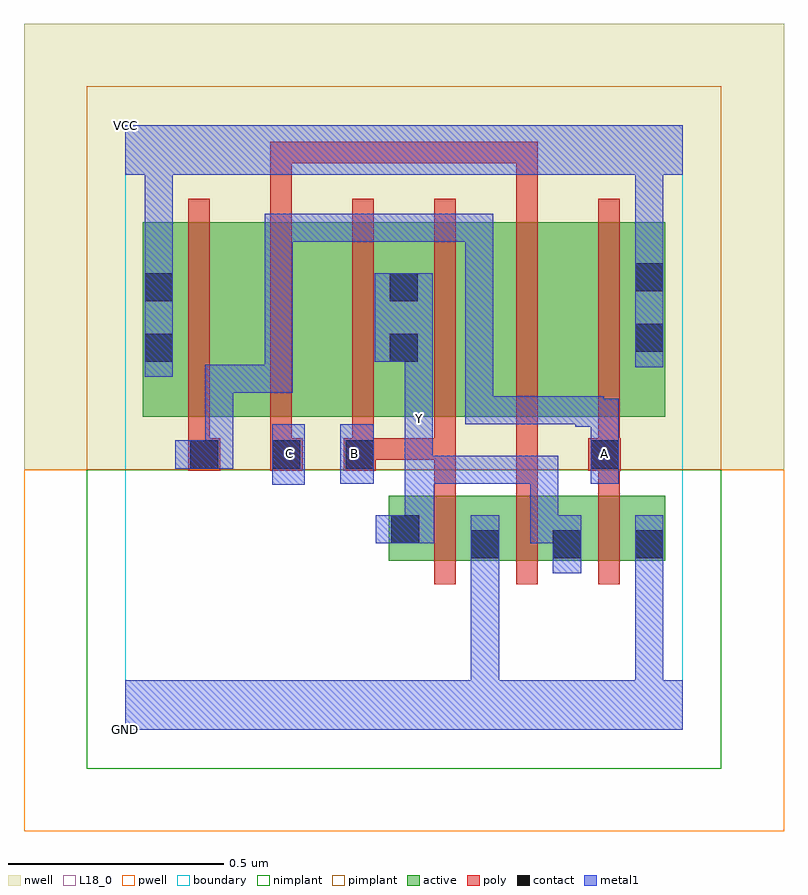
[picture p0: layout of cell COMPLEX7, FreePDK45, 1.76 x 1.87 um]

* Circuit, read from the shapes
.subckt COMPLEX7 A B C GND VCC Y
M1 GND B Y VSUBS nfet w=0.15u l=0.05u
M2 Y C GND VSUBS nfet w=0.15u l=0.05u
M3 GND A Y VSUBS nfet w=0.15u l=0.05u
M4 n1 A VCC n2 pfet w=0.45u l=0.05u
M5 n3 C n1 n2 pfet w=0.45u l=0.05u
M6 Y B n3 n2 pfet w=0.45u l=0.05u
M7 n4 B Y n2 pfet w=0.45u l=0.05u
M8 n5 C n4 n2 pfet w=0.45u l=0.05u
M9 VCC A n5 n2 pfet w=0.45u l=0.05u
.ends

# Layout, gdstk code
import gdstk
lib = gdstk.Library(unit=1e-6, precision=1e-09)
def R(c, l, rs):  # rectangles x0, y0, x1, y1
    for r in rs: c.add(gdstk.rectangle(r[:2], r[2:], *l))
def A(c, l, x, y, w, h, nx, ny, dx, dy):  # array of equal rectangles
    R(c, l, [(x+i*dx, y+j*dy, x+i*dx+w, y+j*dy+h) for i in range(nx) for j in range(ny)])
active = (1, 0)
pwell = (2, 0)
nwell = (3, 0)
nimplant = (4, 0)
pimplant = (5, 0)
poly = (9, 0)
contact = (10, 0)
metal1 = (11, 0)
L18_0 = (18, 0)
boundary = (235, 0)

complex7 = lib.new_cell('COMPLEX7')
R(complex7, active, [(0.61,0.392,0.87,0.542), (0.795,0.392,1.06,0.542), (0.795,0.392,0.87,0.467), (0.985,0.392,1.25,0.542), (0.985,0.392,1.06,0.467), (1.175,0.392,1.25,0.542), (0.61,0.397,0.685,0.542), (0.04,0.725,0.115,1.175), (0.04,0.725,0.265,1.175), (0.265,0.725,0.455,1.175), (0.455,0.725,0.682,1.175), (0.607,0.725,0.835,1.175), (0.607,0.725,0.682,1.07), (0.835,0.725,1.025,1.175), (1.025,0.725,1.25,1.175), (1.175,0.725,1.25,1.175)])
R(complex7, pwell, [(-0.235,-0.235,1.525,0.602)])
R(complex7, nwell, [(-0.235,0.602,1.525,1.635)])
R(complex7, nimplant, [(-0.09,-0.09,1.38,0.602)])
R(complex7, pimplant, [(-0.09,0.602,1.38,1.49)])
A(complex7, poly, 0.715, 0.337, 0.05, 0.26, 3, 1, 0.19, 0)
A(complex7, poly, 0.145, 0.625, 0.05, 0.095, 6, 1, 0.19, 0)
A(complex7, poly, 0.145, 0.67, 0.05, 0.56, 6, 1, 0.19, 0)
R(complex7, poly, [(0.715,0.547,0.765,0.675), (0.905,0.547,0.955,0.675), (1.095,0.547,1.145,0.65), (0.145,0.6,0.22,0.675), (0.335,0.6,0.41,0.675), (0.505,0.6,0.58,0.675), (1.072,0.6,1.147,0.675), (0.53,0.625,0.58,0.675), (0.53,0.625,0.58,0.675), (0.53,0.625,0.765,0.675), (0.715,0.625,0.765,0.675), (0.905,0.625,0.955,0.675), (0.335,1.18,0.385,1.362), (0.905,1.18,0.955,1.362), (0.335,1.312,0.385,1.362), (0.335,1.312,0.385,1.362), (0.335,1.312,0.385,1.362), (0.335,1.312,0.555,1.362), (0.505,1.312,0.555,1.362), (0.505,1.312,0.555,1.362), (0.505,1.312,0.555,1.362), (0.505,1.312,0.822,1.362), (0.772,1.312,0.955,1.362), (0.772,1.312,0.822,1.362), (0.772,1.312,0.822,1.362), (0.772,1.312,0.822,1.362), (0.905,1.312,0.955,1.362)])
A(complex7, contact, 0.8, 0.397, 0.065, 0.065, 3, 1, 0.19, 0)
R(complex7, contact, [(0.615,0.432,0.68,0.497), (0.15,0.605,0.215,0.67), (0.34,0.605,0.405,0.67), (0.51,0.605,0.575,0.67), (1.077,0.605,1.142,0.67), (0.045,0.852,0.11,0.917), (0.612,0.852,0.677,0.917), (1.18,0.875,1.245,0.94), (0.045,0.992,0.11,1.057), (0.612,0.992,0.677,1.057), (1.18,1.015,1.245,1.08)])
A(complex7, metal1, 0.8, 0.362, 0.065, 0.135, 3, 1, 0.19, 0)
R(complex7, metal1, [(0,0,1.29,0.115), (0.8,0.05,0.865,0.115), (0.8,0.05,0.865,0.115), (0.8,0.05,0.865,0.115), (0.8,0.05,0.865,0.115), (0.8,0.05,0.865,0.427), (1.18,0.05,1.245,0.115), (1.18,0.05,1.245,0.115), (1.18,0.05,1.245,0.115), (1.18,0.05,1.245,0.115), (1.18,0.05,1.245,0.427), (0.58,0.432,0.715,0.497), (0.647,0.432,0.712,0.717), (0.65,0.432,0.715,0.497), (0.65,0.432,0.715,0.635), (0.937,0.432,1.055,0.497), (0.937,0.432,1.002,0.635), (0.34,0.567,0.415,0.707), (0.497,0.57,0.575,0.707), (0.65,0.57,0.917,0.635), (0.852,0.57,0.917,0.635), (0.852,0.57,1.002,0.635), (1.077,0.57,1.142,0.767), (0.115,0.605,0.25,0.67), (0.185,0.605,0.25,0.67), (0.185,0.605,0.25,0.67), (0.185,0.605,0.25,0.845), (0.647,0.652,0.712,0.787), (1.042,0.702,1.142,0.767), (1.042,0.702,1.107,0.772), (0.787,0.707,0.852,0.772), (0.787,0.707,0.852,0.772), (0.787,0.707,0.852,0.772), (0.787,0.707,0.852,0.772), (0.787,0.707,0.852,0.772), (0.787,0.707,1.107,0.772), (0.787,0.707,0.852,1.195), (0.647,0.722,0.712,0.917), (0.185,0.78,0.25,0.845), (0.185,0.78,0.387,0.845), (0.322,0.78,0.387,0.845), (0.322,0.78,0.387,0.845), (0.322,0.78,0.387,0.845), (0.322,0.78,0.387,1.195), (0.045,0.817,0.11,1.092), (1.18,0.84,1.245,1.115), (0.577,0.852,0.712,1.057), (0.045,1.027,0.11,1.35), (1.18,1.05,1.245,1.115), (1.18,1.05,1.245,1.115), (1.18,1.05,1.245,1.35), (0.322,1.13,0.387,1.195), (0.322,1.13,0.525,1.195), (0.46,1.13,0.525,1.195), (0.46,1.13,0.715,1.195), (0.65,1.13,0.715,1.195), (0.65,1.13,0.715,1.195), (0.65,1.13,0.715,1.195), (0.65,1.13,0.852,1.195), (0.787,1.13,0.852,1.195), (0,1.285,1.29,1.4), (0.045,1.285,0.11,1.35), (0.045,1.285,0.11,1.35)])
A(complex7, L18_0, 0.8, 0.362, 0.065, 0.135, 3, 1, 0.19, 0)
R(complex7, L18_0, [(0,0,1.29,0.115), (0.8,0.05,0.865,0.115), (0.8,0.05,0.865,0.115), (0.8,0.05,0.865,0.115), (0.8,0.05,0.865,0.115), (0.8,0.05,0.865,0.427), (1.18,0.05,1.245,0.115), (1.18,0.05,1.245,0.115), (1.18,0.05,1.245,0.115), (1.18,0.05,1.245,0.115), (1.18,0.05,1.245,0.427), (0.58,0.432,0.715,0.497), (0.647,0.432,0.712,0.717), (0.65,0.432,0.715,0.497), (0.65,0.432,0.715,0.635), (0.937,0.432,1.002,0.635), (0.937,0.432,1.055,0.497), (0.34,0.567,0.415,0.707), (0.497,0.57,0.575,0.707), (0.65,0.57,0.917,0.635), (0.852,0.57,0.917,0.635), (0.852,0.57,1.002,0.635), (1.077,0.57,1.142,0.767), (0.115,0.605,0.25,0.67), (0.185,0.605,0.25,0.67), (0.185,0.605,0.25,0.67), (0.185,0.605,0.25,0.845), (0.347,0.607,0.412,0.672), (0.497,0.607,0.562,0.672), (1.077,0.607,1.142,0.672), (0.647,0.652,0.712,0.787), (0.647,0.687,0.712,0.752), (1.042,0.702,1.107,0.772), (1.042,0.702,1.142,0.767), (0.787,0.707,0.852,0.772), (0.787,0.707,0.852,0.772), (0.787,0.707,0.852,0.772), (0.787,0.707,0.852,0.772), (0.787,0.707,0.852,0.772), (0.787,0.707,0.852,1.195), (0.787,0.707,1.107,0.772), (0.647,0.722,0.712,0.917), (0.185,0.78,0.25,0.845), (0.185,0.78,0.387,0.845), (0.322,0.78,0.387,0.845), (0.322,0.78,0.387,0.845), (0.322,0.78,0.387,0.845), (0.322,0.78,0.387,1.195), (0.045,0.817,0.11,1.092), (1.18,0.84,1.245,1.115), (0.577,0.852,0.712,1.057), (0.045,1.027,0.11,1.35), (1.18,1.05,1.245,1.115), (1.18,1.05,1.245,1.115), (1.18,1.05,1.245,1.35), (0.322,1.13,0.387,1.195), (0.322,1.13,0.525,1.195), (0.46,1.13,0.525,1.195), (0.46,1.13,0.715,1.195), (0.65,1.13,0.715,1.195), (0.65,1.13,0.715,1.195), (0.65,1.13,0.715,1.195), (0.65,1.13,0.852,1.195), (0.787,1.13,0.852,1.195), (0,1.285,1.29,1.4), (0.045,1.285,0.11,1.35), (0.045,1.285,0.11,1.35)])
R(complex7, boundary, [(0,0,1.29,1.4)])
complex7.add(gdstk.Label('A', (1.11,0.64), layer=11, texttype=0))
complex7.add(gdstk.Label('B', (0.53,0.64), layer=11, texttype=0))
complex7.add(gdstk.Label('C', (0.38,0.64), layer=11, texttype=0))
complex7.add(gdstk.Label('Y', (0.68,0.72), layer=11, texttype=0))
complex7.add(gdstk.Label('VCC', (0,1.4), layer=11, texttype=0))
complex7.add(gdstk.Label('GND', (0,0), layer=11, texttype=0))

lib.write_gds('COMPLEX7.gds')
